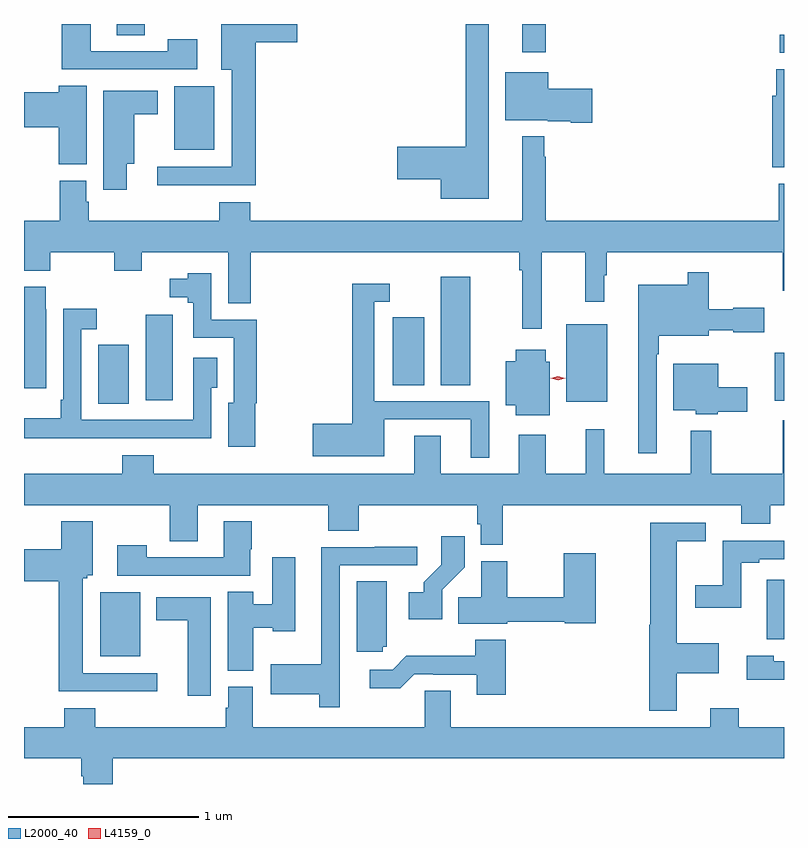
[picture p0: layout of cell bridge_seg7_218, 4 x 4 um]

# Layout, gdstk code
import gdstk
lib = gdstk.Library(unit=1e-6, precision=1e-09)
def R(c, l, rs):  # rectangles x0, y0, x1, y1
    for r in rs: c.add(gdstk.rectangle(r[:2], r[2:], *l))
def P(c, l, *ps):  # polygons
    for p in ps: c.add(gdstk.Polygon(p, *l))
L2000_40 = (2000, 40)
L4159_0 = (4159, 0)

bridge_seg7_218 = lib.new_cell('bridge_seg7_218')
R(bridge_seg7_218, L2000_40, [(278.342,999.821,278.554,1000.156), (281.852,999.911,281.942,1000.222), (278.333,1001.149,278.494,1001.46), (280.796,1001.159,281.011,1001.569), (281.894,1001.165,281.942,1001.419), (278.582,1001.169,278.725,1001.617), (279.884,1001.248,280.048,1001.605), (280.136,1001.248,280.291,1001.818), (278.732,1002.485,278.944,1002.82), (281.919,1002.996,281.942,1003.092), (280.565,1002.999,280.687,1003.148), (278.429,1003.09,278.577,1003.148)])
P(bridge_seg7_218, L2000_40, [(280.387,1003.148),(280.266,1003.148),(280.266,1002.503),(279.906,1002.503),(279.906,1002.332),(280.136,1002.332),(280.136,1002.227),(280.387,1002.227)],
  [(279.161,1003.052),(279.379,1003.052),(279.379,1003.148),(278.981,1003.148),(278.981,1002.908),(279.035,1002.908),(279.035,1002.396),(278.643,1002.396),(278.643,1002.299),(279.161,1002.299)],
  [(278.854,1003.069),(278.698,1003.069),(278.698,1003.005),(278.293,1003.005),(278.293,1003.148),(278.141,1003.148),(278.141,1002.909),(278.854,1002.909)],
  [(281.942,1002.911),(281.9,1002.911),(281.9,1002.771),(281.879,1002.771),(281.879,1002.395),(281.942,1002.395)],
  [(280.933,1002.807),(280.702,1002.807),(280.702,1002.895),(280.475,1002.895),(280.475,1002.641),(280.698,1002.641),(280.698,1002.635),(280.82,1002.635),(280.82,1002.629),(280.933,1002.629)],
  [(278.272,1002.824),(278.126,1002.824),(278.126,1002.788),(277.942,1002.788),(277.942,1002.605),(278.126,1002.605),(278.126,1002.409),(278.272,1002.409)],
  [(278.482,1002.413),(278.521,1002.413),(278.521,1002.674),(278.647,1002.674),(278.647,1002.796),(278.36,1002.796),(278.36,1002.276),(278.482,1002.276)],
  [(280.668,1001.948),(280.897,1001.948),(280.897,1001.685),(280.996,1001.685),(280.996,1001.825),(281.008,1001.825),(281.008,1001.948),(281.935,1001.948),(281.935,1001.743),(281.942,1001.743),(281.942,1002.307),(281.915,1002.307),(281.915,1002.112),(280.687,1002.112),(280.687,1002.449),(280.679,1002.449),(280.679,1002.556),(280.565,1002.556),(280.565,1002.112),(279.134,1002.112),(279.134,1002.211),(278.969,1002.211),(278.969,1002.112),(278.282,1002.112),(278.282,1002.213),(278.269,1002.213),(278.269,1002.324),(278.129,1002.324),(278.129,1002.112),(277.942,1002.112),(277.942,1001.849),(278.079,1001.849),(278.079,1001.948),(278.416,1001.948),(278.416,1001.849),(278.563,1001.849),(278.563,1001.948),(279.017,1001.948),(279.017,1001.677),(279.136,1001.677),(279.136,1001.948),(280.549,1001.948),(280.549,1001.852),(280.564,1001.852),(280.564,1001.544),(280.668,1001.544)],
  [(281.271,1001.411),(281.284,1001.411),(281.284,1001.507),(281.545,1001.507),(281.545,1001.537),(281.676,1001.537),(281.676,1001.525),(281.839,1001.525),(281.839,1001.655),(281.676,1001.655),(281.676,1001.647),(281.545,1001.647),(281.545,1001.842),(281.436,1001.842),(281.436,1001.776),(281.174,1001.776),(281.174,1000.89),(281.271,1000.89)],
  [(279.158,1001.151),(279.166,1001.151),(279.166,1001.592),(278.928,1001.592),(278.928,1001.836),(278.804,1001.836),(278.804,1001.806),(278.709,1001.806),(278.709,1001.709),(278.804,1001.709),(278.804,1001.682),(278.832,1001.682),(278.832,1001.496),(279.047,1001.496),(279.047,1001.155),(279.017,1001.155),(279.017,1000.923),(279.158,1000.923)],
  [(280.39,1001.163),(279.786,1001.163),(279.786,1001.685),(279.868,1001.685),(279.868,1001.782),(279.67,1001.782),(279.67,1001.045),(279.462,1001.045),(279.462,1000.874),(279.838,1000.874),(279.838,1001.067),(280.292,1001.067),(280.292,1000.866),(280.39,1000.866)],
  [(278.059,1001.646),(278.056,1001.646),(278.056,1001.764),(277.942,1001.764),(277.942,1001.232),(278.059,1001.232)],
  [(278.341,1000.968),(278.707,1000.968),(278.707,1000.967),(278.928,1000.967),(278.928,1001.233),(278.959,1001.233),(278.959,1001.392),(278.832,1001.392),(278.832,1001.064),(278.244,1001.064),(278.244,1001.541),(278.326,1001.541),(278.326,1001.65),(278.148,1001.65),(278.148,1001.17),(278.136,1001.17),(278.136,1001.074),(277.942,1001.074),(277.942,1000.967),(278.341,1000.967)],
  [(280.708,1001.37),(280.687,1001.37),(280.687,1001.434),(280.529,1001.434),(280.529,1001.374),(280.478,1001.374),(280.478,1001.141),(280.529,1001.141),(280.529,1001.09),(280.708,1001.09)],
  [(281.592,1001.107),(281.749,1001.107),(281.749,1001.236),(281.596,1001.236),(281.596,1001.359),(281.36,1001.359),(281.36,1001.114),(281.478,1001.114),(281.478,1001.093),(281.592,1001.093)],
  [(280.463,1000.616),(281.717,1000.616),(281.717,1000.517),(281.87,1000.517),(281.87,1000.616),(281.942,1000.616),(281.942,1001.062),(281.935,1001.062),(281.935,1000.78),(281.56,1000.78),(281.56,1001.008),(281.45,1001.008),(281.45,1000.78),(280.997,1000.78),(280.997,1001.014),(280.898,1001.014),(280.898,1000.78),(280.687,1000.78),(280.687,1000.987),(280.547,1000.987),(280.547,1000.78),(280.135,1000.78),(280.135,1000.982),(279.995,1000.982),(279.995,1000.78),(278.624,1000.78),(278.624,1000.879),(278.459,1000.879),(278.459,1000.78),(277.942,1000.78),(277.942,1000.616),(278.71,1000.616),(278.71,1000.426),(278.857,1000.426),(278.857,1000.616),(279.544,1000.616),(279.544,1000.48),(279.704,1000.48),(279.704,1000.616),(280.327,1000.616),(280.327,1000.515),(280.347,1000.515),(280.347,1000.406),(280.463,1000.406)],
  [(279.133,1000.383),(279.141,1000.383),(279.141,1000.531),(278.993,1000.531),(278.993,1000.341),(278.589,1000.341),(278.589,1000.405),(278.433,1000.405),(278.433,1000.245),(279.133,1000.245)],
  [(278.644,999.732),(278.251,999.732),(278.251,1000.23),(278.274,1000.23),(278.274,1000.248),(278.305,1000.248),(278.305,1000.531),(278.138,1000.531),(278.138,1000.384),(277.942,1000.384),(277.942,1000.214),(278.126,1000.214),(278.126,999.635),(278.644,999.635)],
  [(281.377,999.731),(281.599,999.731),(281.599,999.889),(281.377,999.889),(281.377,1000.426),(281.53,1000.426),(281.53,1000.524),(281.239,1000.524),(281.239,999.985),(281.234,999.985),(281.234,999.534),(281.377,999.534)],
  [(280.143,1000.171),(280.262,1000.29),(280.262,1000.453),(280.137,1000.453),(280.137,1000.301),(280.046,1000.211),(280.046,1000.156),(279.966,1000.156),(279.966,1000.016),(280.143,1000.016)],
  [(281.716,1000.312),(281.812,1000.312),(281.812,1000.332),(281.942,1000.332),(281.942,1000.428),(281.619,1000.428),(281.619,1000.195),(281.475,1000.195),(281.475,1000.076),(281.716,1000.076)],
  [(279.604,999.774),(279.603,999.774),(279.603,1000.299),(280.012,1000.299),(280.012,1000.398),(279.787,1000.398),(279.787,1000.395),(279.506,1000.395),(279.506,999.778),(279.24,999.778),(279.24,999.62),(279.495,999.62),(279.495,999.552),(279.604,999.552)],
  [(280.486,1000.003),(280.788,1000.003),(280.788,999.995),(280.95,999.995),(280.95,1000.363),(280.784,1000.363),(280.784,1000.132),(280.486,1000.132),(280.486,1000.321),(280.349,1000.321),(280.349,1000.13),(280.228,1000.13),(280.228,999.992),(280.486,999.992)],
  [(279.148,999.971),(279.252,999.971),(279.252,999.953),(279.37,999.953),(279.37,1000.342),(279.248,1000.342),(279.248,1000.093),(279.148,1000.093),(279.148,1000.16),(279.014,1000.16),(279.014,999.745),(279.148,999.745)],
  [(279.831,999.87),(279.85,999.87),(279.85,1000.214),(279.692,1000.214),(279.692,999.843),(279.831,999.843)],
  [(278.926,1000.132),(278.639,1000.132),(278.639,1000.01),(278.804,1000.01),(278.804,999.612),(278.926,999.612)],
  [(280.478,999.907),(280.318,999.907),(280.318,999.823),(279.955,999.823),(279.882,999.75),(279.762,999.75),(279.762,999.653),(279.923,999.653),(279.996,999.726),(280.096,999.726),(280.096,999.723),(280.325,999.723),(280.325,999.618),(280.478,999.618)],
  [(281.942,999.795),(281.889,999.795),(281.889,999.823),(281.745,999.823),(281.745,999.698),(281.942,999.698)],
  [(281.942,999.448),(281.703,999.448),(281.703,999.547),(281.555,999.547),(281.555,999.448),(280.189,999.448),(280.189,999.638),(280.05,999.638),(280.05,999.448),(279.145,999.448),(279.145,999.66),(279.017,999.66),(279.017,999.549),(279.005,999.549),(279.005,999.448),(278.318,999.448),(278.318,999.547),(278.153,999.547),(278.153,999.448),(277.942,999.448),(277.942,999.284),(278.243,999.284),(278.243,999.188),(278.255,999.188),(278.255,999.148),(278.408,999.148),(278.408,999.284),(281.942,999.284)])
P(bridge_seg7_218, L4159_0, [(280.753,1001.274),(280.714,1001.283),(280.714,1001.283),(280.714,1001.284),(280.752,1001.294),(280.791,1001.284),(280.791,1001.284),(280.791,1001.284)])

lib.write_gds('bridge_seg7_218.gds')
